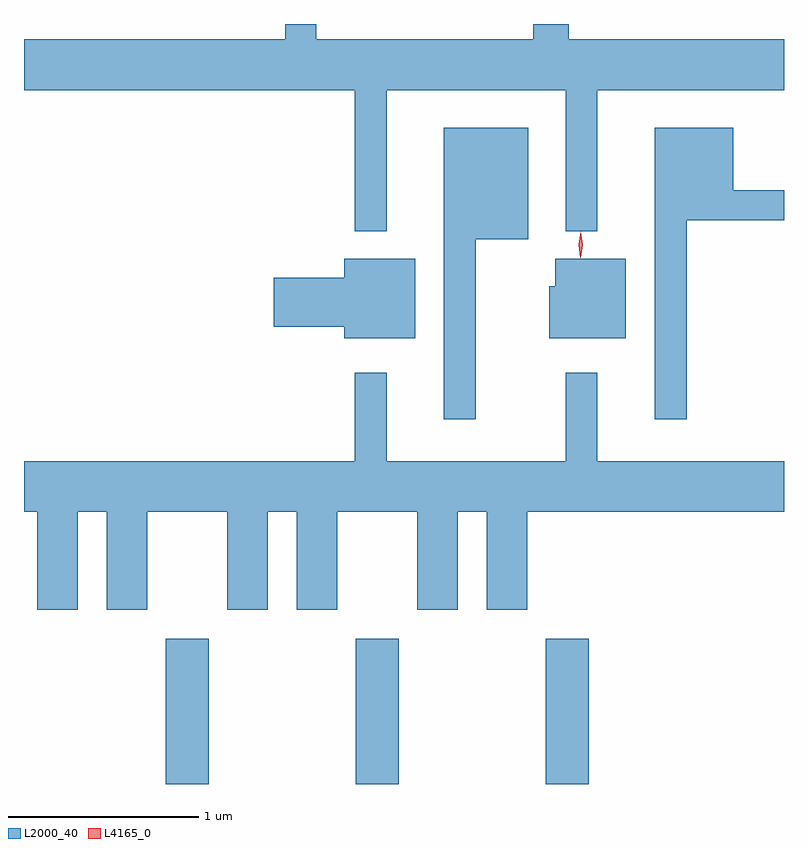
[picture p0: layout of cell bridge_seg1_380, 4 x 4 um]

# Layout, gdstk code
import gdstk
lib = gdstk.Library(unit=1e-6, precision=1e-09)
def R(c, l, rs):  # rectangles x0, y0, x1, y1
    for r in rs: c.add(gdstk.rectangle(r[:2], r[2:], *l))
def A(c, l, x, y, w, h, nx, ny, dx, dy):  # array of equal rectangles
    R(c, l, [(x+i*dx, y+j*dy, x+i*dx+w, y+j*dy+h) for i in range(nx) for j in range(ny)])
def P(c, l, *ps):  # polygons
    for p in ps: c.add(gdstk.Polygon(p, *l))
L2000_40 = (2000, 40)
L4165_0 = (4165, 0)

bridge_seg1_380 = lib.new_cell('bridge_seg1_380')
A(bridge_seg1_380, L2000_40, 576.956, 969.184, 0.228, 0.765, 3, 1, 1, 0)
P(bridge_seg1_380, L2000_40, [(578.119,972.836),(579.061,972.836),(579.061,972.093),(579.229,972.093),(579.229,972.836),(580.211,972.836),(580.211,973.104),(579.079,973.104),(579.079,973.184),(578.891,973.184),(578.891,973.104),(577.749,973.104),(577.749,973.184),(577.586,973.184),(577.586,973.104),(576.211,973.104),(576.211,972.836),(577.951,972.836),(577.951,972.093),(578.119,972.093)],
  [(578.589,972.051),(578.864,972.051),(578.864,972.639),(578.421,972.639),(578.421,971.103),(578.589,971.103)],
  [(579.699,972.151),(580.211,972.151),(580.211,972.309),(579.944,972.309),(579.944,972.639),(579.531,972.639),(579.531,971.103),(579.699,971.103)],
  [(579.379,971.949),(579.006,971.949),(579.006,971.804),(578.976,971.804),(578.976,971.531),(579.379,971.531)],
  [(578.269,971.949),(577.896,971.949),(577.896,971.849),(577.526,971.849),(577.526,971.591),(577.896,971.591),(577.896,971.531),(578.269,971.531)],
  [(576.211,970.616),(576.281,970.616),(576.281,970.101),(576.494,970.101),(576.494,970.616),(576.646,970.616),(576.646,970.101),(576.859,970.101),(576.859,970.616),(577.281,970.616),(577.281,970.101),(577.494,970.101),(577.494,970.616),(577.646,970.616),(577.646,970.101),(577.859,970.101),(577.859,970.616),(578.281,970.616),(578.281,970.101),(578.494,970.101),(578.494,970.616),(578.646,970.616),(578.646,970.101),(578.859,970.101),(578.859,970.616),(580.211,970.616),(580.211,970.884),(579.229,970.884),(579.229,971.348),(579.061,971.348),(579.061,970.884),(578.119,970.884),(578.119,971.348),(577.951,971.348),(577.951,970.884),(576.211,970.884)])
P(bridge_seg1_380, L4165_0, [(579.14,971.954),(579.139,971.955),(579.131,972.023),(579.141,972.09),(579.142,972.09),(579.142,972.09),(579.151,972.022),(579.14,971.955)])

lib.write_gds('bridge_seg1_380.gds')
